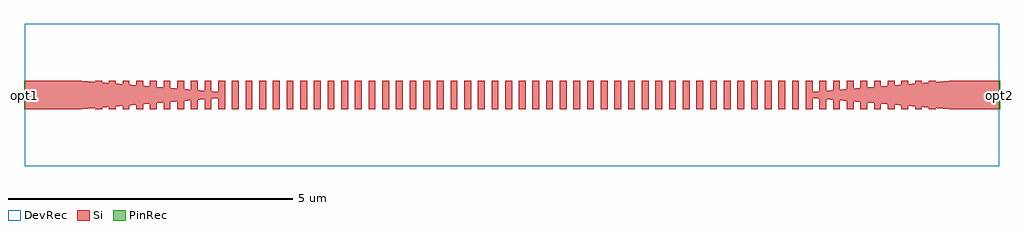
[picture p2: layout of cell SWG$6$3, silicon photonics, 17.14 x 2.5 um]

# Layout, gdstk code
import gdstk
lib = gdstk.Library(unit=1e-6, precision=1e-09)
def R(c, l, rs):  # rectangles x0, y0, x1, y1
    for r in rs: c.add(gdstk.rectangle(r[:2], r[2:], *l))
def P(c, l, *ps):  # polygons
    for p in ps: c.add(gdstk.Polygon(p, *l))
Si = (1, 0)
PinRec = (1, 10)
DevRec = (68, 0)

n2_grating_17_2_3 = lib.new_cell('n2$grating$17$2$3')
R(n2_grating_17_2_3, Si, [(6.48,-0.25,6.6,0.25)])

n2_grating_4_2_3 = lib.new_cell('n2$grating$4$2$3')
R(n2_grating_4_2_3, Si, [(3.36,-0.25,3.48,0.25)])

n1_grating_1_2_3 = lib.new_cell('n1$grating$1$2$3')
R(n1_grating_1_2_3, Si, [(0.24,-0.25,0.36,0.25)])

n1_grating_42_2_3 = lib.new_cell('n1$grating$42$2$3')
R(n1_grating_42_2_3, Si, [(13.44,-0.25,13.56,0.25)])

n1_grating_4_2_3 = lib.new_cell('n1$grating$4$2$3')
R(n1_grating_4_2_3, Si, [(0.96,-0.25,1.08,0.25)])

input_2_3 = lib.new_cell('input$2$3')
R(input_2_3, Si, [(-1,-0.25,0,0.25)])

n2_grating_9_2_3 = lib.new_cell('n2$grating$9$2$3')
R(n2_grating_9_2_3, Si, [(4.56,-0.25,4.68,0.25)])

n2_grating_11_2_3 = lib.new_cell('n2$grating$11$2$3')
R(n2_grating_11_2_3, Si, [(5.04,-0.25,5.16,0.25)])

n1_grating_8_2_3 = lib.new_cell('n1$grating$8$2$3')
R(n1_grating_8_2_3, Si, [(1.92,-0.25,2.04,0.25)])

n1_grating_3_2_3 = lib.new_cell('n1$grating$3$2$3')
R(n1_grating_3_2_3, Si, [(0.72,-0.25,0.84,0.25)])

n2_grating_13_2_3 = lib.new_cell('n2$grating$13$2$3')
R(n2_grating_13_2_3, Si, [(5.52,-0.25,5.64,0.25)])

n1_grating_10_2_3 = lib.new_cell('n1$grating$10$2$3')
R(n1_grating_10_2_3, Si, [(2.4,-0.25,2.52,0.25)])

n1_grating_22_2_3 = lib.new_cell('n1$grating$22$2$3')
R(n1_grating_22_2_3, Si, [(12.96,-0.25,13.08,0.25)])

n2_grating_32_2_3 = lib.new_cell('n2$grating$32$2$3')
R(n2_grating_32_2_3, Si, [(10.08,-0.25,10.2,0.25)])

n2_grating_19_2_3 = lib.new_cell('n2$grating$19$2$3')
R(n2_grating_19_2_3, Si, [(6.96,-0.25,7.08,0.25)])

n2_grating_6_2_3 = lib.new_cell('n2$grating$6$2$3')
R(n2_grating_6_2_3, Si, [(3.84,-0.25,3.96,0.25)])

n2_grating_33_2_3 = lib.new_cell('n2$grating$33$2$3')
R(n2_grating_33_2_3, Si, [(10.32,-0.25,10.44,0.25)])

n2_grating_20_2_3 = lib.new_cell('n2$grating$20$2$3')
R(n2_grating_20_2_3, Si, [(7.2,-0.25,7.32,0.25)])

n2_grating_7_2_3 = lib.new_cell('n2$grating$7$2$3')
R(n2_grating_7_2_3, Si, [(4.08,-0.25,4.2,0.25)])

n2_grating_16_2_3 = lib.new_cell('n2$grating$16$2$3')
R(n2_grating_16_2_3, Si, [(6.24,-0.25,6.36,0.25)])

n2_grating_29_2_3 = lib.new_cell('n2$grating$29$2$3')
R(n2_grating_29_2_3, Si, [(9.36,-0.25,9.48,0.25)])

n2_grating_3_2_3 = lib.new_cell('n2$grating$3$2$3')
R(n2_grating_3_2_3, Si, [(3.12,-0.25,3.24,0.25)])

taper_2_3 = lib.new_cell('taper$2$3')
P(taper_2_3, Si, [(0,-0.25),(0,0.25),(2.52,0.05),(2.52,-0.05)])

n2_grating_34_2_3 = lib.new_cell('n2$grating$34$2$3')
R(n2_grating_34_2_3, Si, [(10.56,-0.25,10.68,0.25)])

n2_grating_1_2_3 = lib.new_cell('n2$grating$1$2$3')
R(n2_grating_1_2_3, Si, [(2.64,-0.25,2.76,0.25)])

n1_grating_6_2_3 = lib.new_cell('n1$grating$6$2$3')
R(n1_grating_6_2_3, Si, [(1.44,-0.25,1.56,0.25)])

n2_grating_26_2_3 = lib.new_cell('n2$grating$26$2$3')
R(n2_grating_26_2_3, Si, [(8.64,-0.25,8.76,0.25)])

n2_grating_8_2_3 = lib.new_cell('n2$grating$8$2$3')
R(n2_grating_8_2_3, Si, [(4.32,-0.25,4.44,0.25)])

n2_grating_21_2_3 = lib.new_cell('n2$grating$21$2$3')
R(n2_grating_21_2_3, Si, [(7.44,-0.25,7.56,0.25)])

n1_grating_9_2_3 = lib.new_cell('n1$grating$9$2$3')
R(n1_grating_9_2_3, Si, [(2.16,-0.25,2.28,0.25)])

n2_grating_12_2_3 = lib.new_cell('n2$grating$12$2$3')
R(n2_grating_12_2_3, Si, [(5.28,-0.25,5.4,0.25)])

n1_grating_2_2_3 = lib.new_cell('n1$grating$2$2$3')
R(n1_grating_2_2_3, Si, [(0.48,-0.25,0.6,0.25)])

n2_grating_10_2_3 = lib.new_cell('n2$grating$10$2$3')
R(n2_grating_10_2_3, Si, [(4.8,-0.25,4.92,0.25)])

n2_grating_5_2_3 = lib.new_cell('n2$grating$5$2$3')
R(n2_grating_5_2_3, Si, [(3.6,-0.25,3.72,0.25)])

n2_grating_14_2_3 = lib.new_cell('n2$grating$14$2$3')
R(n2_grating_14_2_3, Si, [(5.76,-0.25,5.88,0.25)])

n2_grating_27_2_3 = lib.new_cell('n2$grating$27$2$3')
R(n2_grating_27_2_3, Si, [(8.88,-0.25,9,0.25)])

n1_grating_5_2_3 = lib.new_cell('n1$grating$5$2$3')
R(n1_grating_5_2_3, Si, [(1.2,-0.25,1.32,0.25)])

n2_grating_2_2_3 = lib.new_cell('n2$grating$2$2$3')
R(n2_grating_2_2_3, Si, [(2.88,-0.25,3,0.25)])

n2_grating_28_2_3 = lib.new_cell('n2$grating$28$2$3')
R(n2_grating_28_2_3, Si, [(9.12,-0.25,9.24,0.25)])

n2_grating_15_2_3 = lib.new_cell('n2$grating$15$2$3')
R(n2_grating_15_2_3, Si, [(6,-0.25,6.12,0.25)])

n2_grating_31_2_3 = lib.new_cell('n2$grating$31$2$3')
R(n2_grating_31_2_3, Si, [(9.84,-0.25,9.96,0.25)])

n1_grating_12_2_3 = lib.new_cell('n1$grating$12$2$3')
R(n1_grating_12_2_3, Si, [(12.72,-0.25,12.84,0.25)])

n2_grating_18_2_3 = lib.new_cell('n2$grating$18$2$3')
R(n2_grating_18_2_3, Si, [(6.72,-0.25,6.84,0.25)])

n2_grating_41_2_3 = lib.new_cell('n2$grating$41$2$3')
R(n2_grating_41_2_3, Si, [(12.24,-0.25,12.36,0.25)])

n1_grating_32_2_3 = lib.new_cell('n1$grating$32$2$3')
R(n1_grating_32_2_3, Si, [(13.2,-0.25,13.32,0.25)])

n2_grating_40_2_3 = lib.new_cell('n2$grating$40$2$3')
R(n2_grating_40_2_3, Si, [(12,-0.25,12.12,0.25)])

n1_grating_102_2_3 = lib.new_cell('n1$grating$102$2$3')
R(n1_grating_102_2_3, Si, [(14.88,-0.25,15,0.25)])

n2_grating_39_2_3 = lib.new_cell('n2$grating$39$2$3')
R(n2_grating_39_2_3, Si, [(11.76,-0.25,11.88,0.25)])

n1_grating_92_2_3 = lib.new_cell('n1$grating$92$2$3')
R(n1_grating_92_2_3, Si, [(14.64,-0.25,14.76,0.25)])

n1_grating_7_2_3 = lib.new_cell('n1$grating$7$2$3')
R(n1_grating_7_2_3, Si, [(1.68,-0.25,1.8,0.25)])

n2_grating_38_2_3 = lib.new_cell('n2$grating$38$2$3')
R(n2_grating_38_2_3, Si, [(11.52,-0.25,11.64,0.25)])

n1_grating_82_2_3 = lib.new_cell('n1$grating$82$2$3')
R(n1_grating_82_2_3, Si, [(14.4,-0.25,14.52,0.25)])

n2_grating_42_2_3 = lib.new_cell('n2$grating$42$2$3')
R(n2_grating_42_2_3, Si, [(12.48,-0.25,12.6,0.25)])

n2_grating_24_2_3 = lib.new_cell('n2$grating$24$2$3')
R(n2_grating_24_2_3, Si, [(8.16,-0.25,8.28,0.25)])

n2_grating_37_2_3 = lib.new_cell('n2$grating$37$2$3')
R(n2_grating_37_2_3, Si, [(11.28,-0.25,11.4,0.25)])

n2_grating_35_2_3 = lib.new_cell('n2$grating$35$2$3')
R(n2_grating_35_2_3, Si, [(10.8,-0.25,10.92,0.25)])

n1_grating_52_2_3 = lib.new_cell('n1$grating$52$2$3')
R(n1_grating_52_2_3, Si, [(13.68,-0.25,13.8,0.25)])

n2_grating_22_2_3 = lib.new_cell('n2$grating$22$2$3')
R(n2_grating_22_2_3, Si, [(7.68,-0.25,7.8,0.25)])

n2_grating_36_2_3 = lib.new_cell('n2$grating$36$2$3')
R(n2_grating_36_2_3, Si, [(11.04,-0.25,11.16,0.25)])

n2_grating_23_2_3 = lib.new_cell('n2$grating$23$2$3')
R(n2_grating_23_2_3, Si, [(7.92,-0.25,8.04,0.25)])

n1_grating_62_2_3 = lib.new_cell('n1$grating$62$2$3')
R(n1_grating_62_2_3, Si, [(13.92,-0.25,14.04,0.25)])

n2_grating_30_2_3 = lib.new_cell('n2$grating$30$2$3')
R(n2_grating_30_2_3, Si, [(9.6,-0.25,9.72,0.25)])

n2_grating_25_2_3 = lib.new_cell('n2$grating$25$2$3')
R(n2_grating_25_2_3, Si, [(8.4,-0.25,8.52,0.25)])

taper2_2_3 = lib.new_cell('taper2$2$3')
P(taper2_2_3, Si, [(15.24,-0.25),(12.72,-0.05),(12.72,0.05),(15.24,0.25)])

output_2_3 = lib.new_cell('Output$2$3')
R(output_2_3, Si, [(15.24,-0.25,16.12,0.25)])

n1_grating_72_2_3 = lib.new_cell('n1$grating$72$2$3')
R(n1_grating_72_2_3, Si, [(14.16,-0.25,14.28,0.25)])

swg_6_3 = lib.new_cell('SWG$6$3')
R(swg_6_3, DevRec, [(-1,-1.25,16.12,1.25)])
swg_6_3.add(gdstk.FlexPath([(-0.99,0),(-1.01,0)], 0.5, ends="flush", simple_path=True, layer=1, datatype=10))  # PinRec
swg_6_3.add(gdstk.FlexPath([(16.11,0),(16.13,0)], 0.5, ends="flush", simple_path=True, layer=1, datatype=10))  # PinRec
swg_6_3.add(gdstk.Reference(n2_grating_17_2_3, (0,0)))
swg_6_3.add(gdstk.Reference(n2_grating_4_2_3, (0,0)))
swg_6_3.add(gdstk.Reference(n1_grating_1_2_3, (0,0)))
swg_6_3.add(gdstk.Reference(n1_grating_42_2_3, (0,0)))
swg_6_3.add(gdstk.Reference(n1_grating_4_2_3, (0,0)))
swg_6_3.add(gdstk.Reference(input_2_3, (0,0)))
swg_6_3.add(gdstk.Reference(n2_grating_9_2_3, (0,0)))
swg_6_3.add(gdstk.Reference(n2_grating_11_2_3, (0,0)))
swg_6_3.add(gdstk.Reference(n1_grating_8_2_3, (0,0)))
swg_6_3.add(gdstk.Reference(n1_grating_3_2_3, (0,0)))
swg_6_3.add(gdstk.Reference(n2_grating_13_2_3, (0,0)))
swg_6_3.add(gdstk.Reference(n1_grating_10_2_3, (0,0)))
swg_6_3.add(gdstk.Reference(n1_grating_22_2_3, (0,0)))
swg_6_3.add(gdstk.Reference(n2_grating_32_2_3, (0,0)))
swg_6_3.add(gdstk.Reference(n2_grating_19_2_3, (0,0)))
swg_6_3.add(gdstk.Reference(n2_grating_6_2_3, (0,0)))
swg_6_3.add(gdstk.Reference(n2_grating_33_2_3, (0,0)))
swg_6_3.add(gdstk.Reference(n2_grating_20_2_3, (0,0)))
swg_6_3.add(gdstk.Reference(n2_grating_7_2_3, (0,0)))
swg_6_3.add(gdstk.Reference(n2_grating_16_2_3, (0,0)))
swg_6_3.add(gdstk.Reference(n2_grating_29_2_3, (0,0)))
swg_6_3.add(gdstk.Reference(n2_grating_3_2_3, (0,0)))
swg_6_3.add(gdstk.Reference(taper_2_3, (0,0)))
swg_6_3.add(gdstk.Reference(n2_grating_34_2_3, (0,0)))
swg_6_3.add(gdstk.Reference(n2_grating_1_2_3, (0,0)))
swg_6_3.add(gdstk.Reference(n1_grating_6_2_3, (0,0)))
swg_6_3.add(gdstk.Reference(n2_grating_26_2_3, (0,0)))
swg_6_3.add(gdstk.Reference(n2_grating_8_2_3, (0,0)))
swg_6_3.add(gdstk.Reference(n2_grating_21_2_3, (0,0)))
swg_6_3.add(gdstk.Reference(n1_grating_9_2_3, (0,0)))
swg_6_3.add(gdstk.Reference(n2_grating_12_2_3, (0,0)))
swg_6_3.add(gdstk.Reference(n1_grating_2_2_3, (0,0)))
swg_6_3.add(gdstk.Reference(n2_grating_10_2_3, (0,0)))
swg_6_3.add(gdstk.Reference(n2_grating_5_2_3, (0,0)))
swg_6_3.add(gdstk.Reference(n2_grating_14_2_3, (0,0)))
swg_6_3.add(gdstk.Reference(n2_grating_27_2_3, (0,0)))
swg_6_3.add(gdstk.Reference(n1_grating_5_2_3, (0,0)))
swg_6_3.add(gdstk.Reference(n2_grating_2_2_3, (0,0)))
swg_6_3.add(gdstk.Reference(n2_grating_28_2_3, (0,0)))
swg_6_3.add(gdstk.Reference(n2_grating_15_2_3, (0,0)))
swg_6_3.add(gdstk.Reference(n2_grating_31_2_3, (0,0)))
swg_6_3.add(gdstk.Reference(n1_grating_12_2_3, (0,0)))
swg_6_3.add(gdstk.Reference(n2_grating_18_2_3, (0,0)))
swg_6_3.add(gdstk.Reference(n2_grating_41_2_3, (0,0)))
swg_6_3.add(gdstk.Reference(n1_grating_32_2_3, (0,0)))
swg_6_3.add(gdstk.Reference(n2_grating_40_2_3, (0,0)))
swg_6_3.add(gdstk.Reference(n1_grating_102_2_3, (0,0)))
swg_6_3.add(gdstk.Reference(n2_grating_39_2_3, (0,0)))
swg_6_3.add(gdstk.Reference(n1_grating_92_2_3, (0,0)))
swg_6_3.add(gdstk.Reference(n1_grating_7_2_3, (0,0)))
swg_6_3.add(gdstk.Reference(n2_grating_38_2_3, (0,0)))
swg_6_3.add(gdstk.Reference(n1_grating_82_2_3, (0,0)))
swg_6_3.add(gdstk.Reference(n2_grating_42_2_3, (0,0)))
swg_6_3.add(gdstk.Reference(n2_grating_24_2_3, (0,0)))
swg_6_3.add(gdstk.Reference(n2_grating_37_2_3, (0,0)))
swg_6_3.add(gdstk.Reference(n2_grating_35_2_3, (0,0)))
swg_6_3.add(gdstk.Reference(n1_grating_52_2_3, (0,0)))
swg_6_3.add(gdstk.Reference(n2_grating_22_2_3, (0,0)))
swg_6_3.add(gdstk.Reference(n2_grating_36_2_3, (0,0)))
swg_6_3.add(gdstk.Reference(n2_grating_23_2_3, (0,0)))
swg_6_3.add(gdstk.Reference(n1_grating_62_2_3, (0,0)))
swg_6_3.add(gdstk.Reference(n2_grating_30_2_3, (0,0)))
swg_6_3.add(gdstk.Reference(n2_grating_25_2_3, (0,0)))
swg_6_3.add(gdstk.Reference(taper2_2_3, (0,0)))
swg_6_3.add(gdstk.Reference(output_2_3, (0,0)))
swg_6_3.add(gdstk.Reference(n1_grating_72_2_3, (0,0)))
swg_6_3.add(gdstk.Label('opt1', (-1,0), layer=1, texttype=10))
swg_6_3.add(gdstk.Label('opt2', (16.12,0), layer=1, texttype=10))

lib.write_gds('SWG_6_3.gds')
